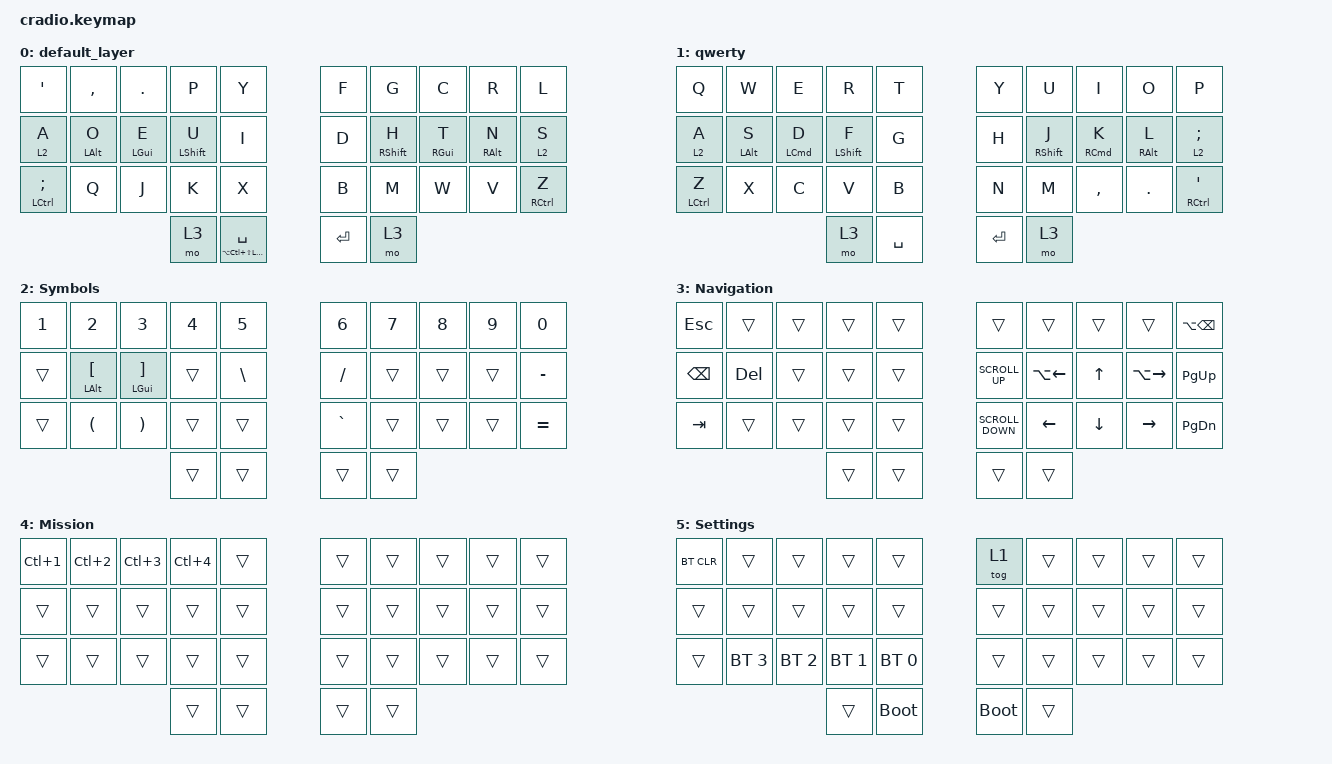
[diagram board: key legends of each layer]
/*
 * Copyright (c) 2020 The ZMK Contributors
 *
 * SPDX-License-Identifier: MIT
 */

#include <behaviors.dtsi>
#include <dt-bindings/zmk/keys.h>
#include <dt-bindings/zmk/bt.h>

&mt {
    //  flavor = "tap-preferred";
    // tapping_term_ms = <200>;
};

/ {
    behaviors {
        hm: homerow_mods {
            compatible = "zmk,behavior-hold-tap";
            label = "HOMEROW_MODS";
            #binding-cells = <2>;
            tapping-term-ms = <250>;
            flavor = "tap-preferred";
            bindings =
                <&kp>,
                <&kp>;
        };
        td_lt: tap_dance_layer_tap {
            compatible = "zmk,behavior-tap-dance";
            label = "TAP_DANCE_LAYER_TAP";
            #binding-cells = <0>;
            tapping-term-ms = <100>;
            bindings =
                <&lt 2 SEMICOLON>,
                <&to 2>;
        };
    };

    combos {
        compatible = "zmk,combos";

        big_thumb_left {
            bindings = <&mo 4>;
            key-positions = <30 24>;
        };

        big_thumb_right {
            bindings = <&mo 4>;
            key-positions = <33 25>;
        };

        both_thumbs {
            bindings = <&caps_word>;
            key-positions = <30 33>;
        };

        big_pinky_left {
            bindings = <&mo 5>;
            key-positions = <20 10>;
        };

        big_pinky_right {
            bindings = <&mo 5>;
            key-positions = <29 19>;
        };

        top_left {
            bindings = <&caps_word>;
            key-positions = <0 1>;
        };
    };

    keymap {
        compatible = "zmk,keymap";

        default_layer {
            bindings = <
    &kp SINGLE_QUOTE   &kp COMMA     &kp DOT        &kp P                           &kp Y    &kp F        &kp G       &kp C       &kp R        &kp L
             &lt 2 A  &hm LALT O  &hm LGUI E  &hm LSHFT U                           &kp I    &kp D  &hm RSHFT H  &hm RGUI T  &hm RALT N      &lt 2 S
 &hm LCTRL SEMICOLON       &kp Q       &kp J        &kp K                           &kp X    &kp B        &kp M       &kp W       &kp V  &hm RCTRL Z
                                                    &mo 3  &hm LA(LC(LS(LEFT_GUI))) SPACE  &kp RET        &mo 3
            >;
        };

        qwerty {
            bindings = <
       &kp Q       &kp W       &kp E        &kp R      &kp T       &kp Y        &kp U       &kp I       &kp O                   &kp P
     &lt 2 A  &hm LALT S  &hm LCMD D  &hm LSHFT F      &kp G       &kp H  &hm RSHFT J  &hm RCMD K  &hm RALT L              &lt 2 SEMI
 &hm LCTRL Z       &kp X       &kp C        &kp V      &kp B       &kp N        &kp M   &kp COMMA     &kp DOT  &hm RCTRL SINGLE_QUOTE
                                            &mo 3  &kp SPACE  &kp RETURN        &mo 3
            >;
        };

        Symbols {
            bindings = <
 &kp NUMBER_1               &kp NUMBER_2                &kp NUMBER_3  &kp NUMBER_4   &kp NUMBER_5  &kp NUMBER_6  &kp NUMBER_7  &kp NUMBER_8  &kp NUMBER_9  &kp NUMBER_0
       &trans  &hm LEFT_ALT LEFT_BRACKET  &hm LEFT_GUI RIGHT_BRACKET        &trans  &kp BACKSLASH     &kp SLASH        &trans        &trans        &trans     &kp MINUS
       &trans       &kp LEFT_PARENTHESIS       &kp RIGHT_PARENTHESIS        &trans         &trans     &kp GRAVE        &trans        &trans        &trans     &kp EQUAL
                                                                            &trans         &trans        &trans        &trans
            >;
        };

        Navigation {
            bindings = <
    &kp ESCAPE   &trans  &trans  &trans  &trans             &trans              &trans    &trans               &trans  &kp LA(BACKSPACE)
 &kp BACKSPACE  &kp DEL  &trans  &trans  &trans    &kp K_SCROLL_UP  &kp LA(LEFT_ARROW)    &kp UP  &kp LA(RIGHT_ARROW)        &kp PAGE_UP
       &kp TAB   &trans  &trans  &trans  &trans  &kp K_SCROLL_DOWN            &kp LEFT  &kp DOWN            &kp RIGHT      &kp PAGE_DOWN
                                 &trans  &trans             &trans              &trans
            >;
        };

        Mission {
            bindings = <
 &kp LC(NUMBER_1)  &kp LC(NUMBER_2)  &kp LC(NUMBER_3)  &kp LC(NUMBER_4)  &trans  &trans  &trans  &trans  &trans  &trans
           &trans            &trans            &trans            &trans  &trans  &trans  &trans  &trans  &trans  &trans
           &trans            &trans            &trans            &trans  &trans  &trans  &trans  &trans  &trans  &trans
                                                                 &trans  &trans  &trans  &trans
            >;
        };

        Settings {
            bindings = <
 &bt BT_CLR        &trans        &trans        &trans        &trans       &tog 1  &trans  &trans  &trans  &trans
     &trans        &trans        &trans        &trans        &trans       &trans  &trans  &trans  &trans  &trans
     &trans  &bt BT_SEL 3  &bt BT_SEL 2  &bt BT_SEL 1  &bt BT_SEL 0       &trans  &trans  &trans  &trans  &trans
                                               &trans   &bootloader  &bootloader  &trans
            >;
        };
    };
};
